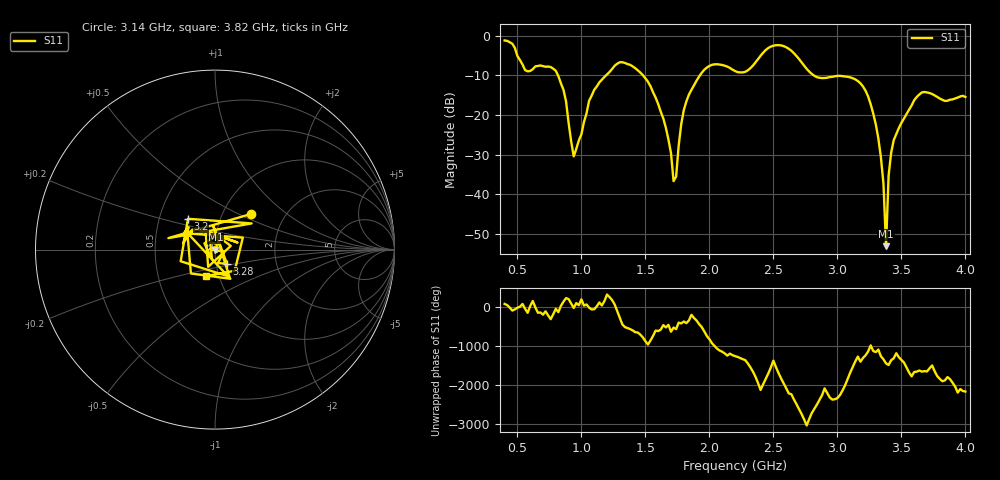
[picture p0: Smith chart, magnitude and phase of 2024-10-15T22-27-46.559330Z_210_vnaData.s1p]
! Created with skrf (http://scikit-rf.org).
# Hz S RI R 50.0
!freq ReS11 ImS11
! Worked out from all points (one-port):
!   181 points, 400 MHz to 4 GHz, reference 50 ohm
!   lowest |S11| = -53.1 dB at 3.38 GHz (marker M1), VSWR 1.00, Z = 50.2 - j0.0337 ohm
!   |S11| at or under -10 dB: 816.9 MHz to 1.193 GHz (376.1 MHz wide, 37.4 % of centre); 1.481 GHz to 1.926 GHz (445 MHz wide, 26.1 % of centre); 2.815 GHz to end of sweep
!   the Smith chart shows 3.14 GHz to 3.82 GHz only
!   S11 on the Smith chart (normalised r, x): 3.14 GHz: 1.35, +0.58; 3.2 GHz: 0.70, +0.25; 3.28 GHz: 1.13, -0.18; 3.82 GHz: 0.87, -0.26
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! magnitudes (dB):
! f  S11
! 400 MHz  -1.2
! 860 MHz  -13.7
! 940 MHz  -30.5
! 1.1 GHz  -13.7
! 1.3 GHz  -6.7
! 1.54 GHz  -12.8
! 1.66 GHz  -23.3
! 1.72 GHz  -36.7
! 1.74 GHz  -35.5
! 1.76 GHz  -27.7
! 1.82 GHz  -16.6
! 1.94 GHz  -9.4
! 2.2 GHz  -8.9
! 2.5 GHz  -2.5
! 2.66 GHz  -4.4
! 2.84 GHz  -10.5
! 3.1 GHz  -10.5
! 3.14 GHz  -11.0
! 3.2 GHz  -12.8
! 3.28 GHz  -19.6
! 3.36 GHz  -37.4
! 3.38 GHz  -53.1
! 3.4 GHz  -35.3
! 3.42 GHz  -29.5
! 3.56 GHz  -18.7
! 3.66 GHz  -14.3
! 3.82 GHz  -16.2
! 4 GHz  -15.5
